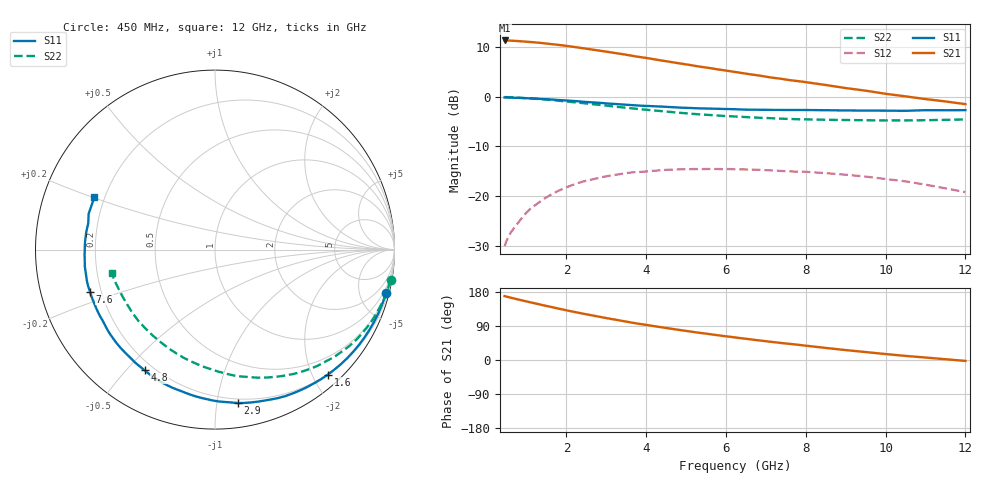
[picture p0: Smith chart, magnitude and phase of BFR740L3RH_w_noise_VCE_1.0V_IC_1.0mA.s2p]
! (c) 2012  Infineon Technologies AG, Munich
! Infineon Technologies  Discrete & RF Semiconductors
! BFR740L3RH
! VCE =  1.0 V,  IC =  1.0 mA
! Common Emitter S-Parameters:  May 2012
# GHz  S  MA  R  50
!  f  S11  S21  S12  S22
! GHz  MAG  ANG  MAG  ANG  MAG  ANG  MAG  ANG
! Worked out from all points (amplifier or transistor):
!   85 points, 450 MHz to 12 GHz, reference 50 ohm
!   highest |S21| = 11.3 dB at 450 MHz (marker M1)
!   |S21| within 3 dB of that: start of sweep to 3.583 GHz
!   unconditionally stable (mu >= 1): 10.47 GHz to end of sweep
!   at 1.8 GHz: K = 0.11, MSG = 14.7 dB, |S12| = -18.9 dB
!   at 4.6 GHz: K = 0.27, MSG = 10.9 dB, |S12| = -14.7 dB
!   at 12 GHz: K = 1.49, MAG = 4.7 dB, |S12| = -19.2 dB
!   lowest NFmin = 0.29 dB at 450 MHz
!   S11 on the Smith chart (normalised r, x): 450 MHz: 0.52, -8.05; 1.6 GHz: 0.19, -2.24; 2.9 GHz: 0.17, -1.14; 4.8 GHz: 0.16, -0.56; 7.6 GHz: 0.16, -0.16; 12 GHz: 0.16, +0.20
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0.45  0.9845 -14.1  3.684 168.7  0.0313 74.1  0.9929 -9.9
0.6  0.9796 -18.7  3.668 164.5  0.0427 75.1  0.9863 -13.2
1  0.9657 -30.7  3.578 154.5  0.0683 66.9  0.9667 -21.6
1.3  0.953 -39.5  3.497 147.3  0.0856 60.8  0.9489 -27.8
1.6  0.9384 -47.9  3.393 140.4  0.1024 54.9  0.9288 -33.9
1.8  0.9266 -53.7  3.323 135.6  0.113 50.6  0.9115 -37.7
2  0.9161 -59.1  3.249 131.1  0.1225 46.9  0.8955 -41.5
2.4  0.8912 -69.5  3.083 122.6  0.1394 39.4  0.8628 -48.7
2.9  0.8638 -81.6  2.881 112.6  0.1552 30.7  0.8216 -57.3
3.3  0.8408 -90.8  2.723 105.0  0.1652 24.4  0.7889 -63.7
3.7  0.8202 -99.4  2.559 97.6  0.1739 17.8  0.7593 -70.0
4.3  0.7981 -111.1  2.345 87.7  0.1811 9.5  0.7209 -78.6
4.8  0.7786 -120.2  2.176 79.8  0.1854 2.9  0.6911 -85.6
5.2  0.7667 -127.2  2.052 73.7  0.187 -2.2  0.6705 -90.9
5.5  0.7608 -132.1  1.967 69.5  0.1871 -5.8  0.6581 -94.8
6.3  0.746 -144.1  1.757 58.5  0.1856 -14.8  0.63 -105.0
6.8  0.7395 -151.3  1.64 52.0  0.1838 -20.4  0.6149 -111.3
7.6  0.7347 -161.4  1.468 42.5  0.1774 -28.2  0.5974 -120.8
8.5  0.7313 -172.6  1.312 31.8  0.1701 -38.2  0.5858 -131.5
9.5  0.7256 177.0  1.15 21.0  0.157 -48.6  0.58 -142.6
10.5  0.7214 168.1  1.008 10.8  0.1406 -58.4  0.5777 -152.9
12  0.733 156.5  0.842 -2.4  0.1095 -72.4  0.5902 -167.0
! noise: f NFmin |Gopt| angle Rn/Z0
0.45  0.29  0.92  6  0.48
0.9  0.32  0.91  18  0.46
1.5  0.4  0.89  31  0.42
1.9  0.48  0.84  40  0.4
2.4  0.57  0.79  49  0.38
3.5  0.79  0.75  68  0.33
5.5  1.16  0.78  97  0.21
8  1.59  0.72  139  0.09
10  1.91  0.71  161  0.05
12  2.2  0.81  -162  0.04
